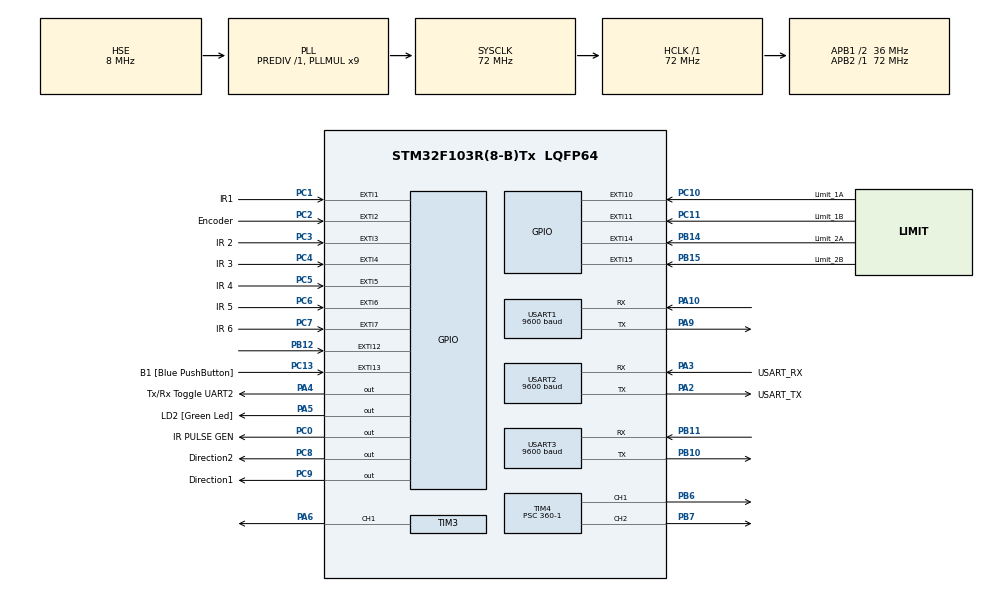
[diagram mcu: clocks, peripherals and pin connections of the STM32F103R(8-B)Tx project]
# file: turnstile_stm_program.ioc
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Dma.Request0=TIM3_CH1/TRIG
Dma.TIM3_CH1/TRIG.0.Direction=DMA_MEMORY_TO_PERIPH
Dma.TIM3_CH1/TRIG.0.Instance=DMA1_Channel6
Dma.TIM3_CH1/TRIG.0.MemDataAlignment=DMA_MDATAALIGN_BYTE
Dma.TIM3_CH1/TRIG.0.MemInc=DMA_MINC_ENABLE
Dma.TIM3_CH1/TRIG.0.Mode=DMA_NORMAL
Dma.TIM3_CH1/TRIG.0.PeriphDataAlignment=DMA_PDATAALIGN_HALFWORD
Dma.TIM3_CH1/TRIG.0.PeriphInc=DMA_PINC_DISABLE
Dma.TIM3_CH1/TRIG.0.Priority=DMA_PRIORITY_LOW
Mcu.Family=STM32F1
Mcu.Name=STM32F103R(8-B)Tx
Mcu.Package=LQFP64
NVIC.DMA1_Channel6_IRQn=true\:0\:0\:false\:false\:true\:false\:true\:true
NVIC.EXTI15_10_IRQn=true\:0\:0\:false\:false\:true\:true\:true\:true
NVIC.EXTI1_IRQn=true\:0\:0\:false\:false\:true\:true\:true\:true
NVIC.EXTI2_IRQn=true\:0\:0\:false\:false\:true\:true\:true\:true
NVIC.EXTI3_IRQn=true\:0\:0\:false\:false\:true\:true\:true\:true
NVIC.EXTI4_IRQn=true\:0\:0\:false\:false\:true\:true\:true\:true
NVIC.EXTI9_5_IRQn=true\:0\:0\:false\:false\:true\:true\:true\:true
NVIC.PriorityGroup=NVIC_PRIORITYGROUP_4
NVIC.USART1_IRQn=true\:0\:0\:true\:false\:true\:true\:true\:true
NVIC.USART2_IRQn=true\:0\:0\:true\:false\:true\:true\:true\:true
NVIC.USART3_IRQn=true\:0\:0\:false\:false\:true\:true\:true\:true
NimaLTD.I-CUBE-WS28XX.3.0.1.DriverJjWS28XX=true
NimaLTD.I-CUBE-WS28XX.3.0.1.WS28XX_PIXEL_MAX=578
PA10.Mode=Asynchronous
PA10.Signal=USART1_RX
PA13.GPIO_Label=TMS
PA13.Mode=Serial_Wire
PA13.Signal=SYS_JTMS-SWDIO
PA14.GPIO_Label=TCK
PA14.Mode=Serial_Wire
PA14.Signal=SYS_JTCK-SWCLK
PA2.GPIO_Label=USART_TX
PA2.GPIO_Mode=GPIO_MODE_AF_PP
PA2.GPIO_PuPd=GPIO_NOPULL
PA2.GPIO_Speed=GPIO_SPEED_FREQ_LOW
PA2.Mode=Asynchronous
PA2.Signal=USART2_TX
PA3.GPIO_Label=USART_RX
PA3.GPIO_Mode=GPIO_MODE_AF_PP
PA3.GPIO_PuPd=GPIO_NOPULL
PA3.GPIO_Speed=GPIO_SPEED_FREQ_LOW
PA3.Mode=Asynchronous
PA3.Signal=USART2_RX
PA4.GPIO_Label=Tx/Rx Toggle UART2
PA4.Signal=GPIO_Output
PA5.GPIO_Label=LD2 [Green Led]
PA5.GPIO_ModeDefaultOutputPP=GPIO_MODE_OUTPUT_PP
PA5.GPIO_PuPd=GPIO_NOPULL
PA5.GPIO_Speed=GPIO_SPEED_FREQ_LOW
PA5.Signal=GPIO_Output
PA6.Signal=S_TIM3_CH1
PA9.Mode=Asynchronous
PA9.Signal=USART1_TX
PB10.Mode=Asynchronous
PB10.Signal=USART3_TX
PB11.Mode=Asynchronous
PB11.Signal=USART3_RX
PB12.Signal=GPXTI12
PB14.GPIO_Label=Limit_2A
PB14.GPIO_PuPd=GPIO_PULLUP
PB14.Signal=GPXTI14
PB15.GPIO_Label=Limit_2B
PB15.GPIO_PuPd=GPIO_PULLUP
PB15.Signal=GPXTI15
PB3.GPIO_Label=SWO
PB3.Signal=SYS_JTDO-TRACESWO
PB6.Signal=S_TIM4_CH1
PB7.Signal=S_TIM4_CH2
PC0.GPIO_Label=IR PULSE GEN
PC0.Signal=GPIO_Output
PC1.GPIO_Label=IR1
PC1.Signal=GPXTI1
PC10.GPIO_Label=Limit_1A
PC10.GPIO_PuPd=GPIO_PULLUP
PC10.Signal=GPXTI10
PC11.GPIO_Label=Limit_1B
PC11.GPIO_PuPd=GPIO_PULLUP
PC11.Signal=GPXTI11
PC13-TAMPER-RTC.GPIO_Label=B1 [Blue PushButton]
PC13-TAMPER-RTC.GPIO_PuPd=GPIO_NOPULL
PC13-TAMPER-RTC.Signal=GPXTI13
PC14-OSC32_IN.Mode=LSE-External-Oscillator
PC14-OSC32_IN.Signal=RCC_OSC32_IN
PC15-OSC32_OUT.Mode=LSE-External-Oscillator
PC15-OSC32_OUT.Signal=RCC_OSC32_OUT
PC2.GPIO_Label=Encoder
PC2.Signal=GPXTI2
PC3.GPIO_Label=IR 2
PC3.Signal=GPXTI3
PC4.GPIO_Label=IR 3
PC4.Signal=GPXTI4
PC5.GPIO_Label=IR 4
PC5.Signal=GPXTI5
PC6.GPIO_Label=IR 5
PC6.Signal=GPXTI6
PC7.GPIO_Label=IR 6
PC7.Signal=GPXTI7
PC8.GPIO_Label=Direction2
PC8.Signal=GPIO_Output
PC9.GPIO_Label=Direction1
PC9.Signal=GPIO_Output
PD0-OSC_IN.Mode=HSE-External-Clock-Source
PD0-OSC_IN.Signal=RCC_OSC_IN
PD1-OSC_OUT.Mode=HSE-External-Clock-Source
PD1-OSC_OUT.Signal=RCC_OSC_OUT
ProjectManager.HeapSize=0x200
ProjectManager.StackSize=0x400
ProjectManager.TargetToolchain=STM32CubeIDE
RCC.AHBFreq_Value=72000000
RCC.APB1CLKDivider=RCC_HCLK_DIV2
RCC.APB1Freq_Value=36000000
RCC.APB1TimFreq_Value=72000000
RCC.APB2Freq_Value=72000000
RCC.APB2TimFreq_Value=72000000
RCC.HCLKFreq_Value=72000000
RCC.PLLMUL=RCC_PLL_MUL9
RCC.PLLSourceVirtual=RCC_PLLSOURCE_HSE
RCC.RTCClockSelection=RCC_RTCCLKSOURCE_LSE
RCC.SYSCLKFreq_VALUE=72000000
RCC.SYSCLKSource=RCC_SYSCLKSOURCE_PLLCLK
RCC.USBFreq_Value=72000000
SH.S_TIM3_CH1.0=TIM3_CH1,PWM Generation1 CH1
SH.S_TIM4_CH1.0=TIM4_CH1,PWM Generation1 CH1
SH.S_TIM4_CH2.0=TIM4_CH2,PWM Generation2 CH2
TIM3.Channel-PWM\ Generation1\ CH1=TIM_CHANNEL_1
TIM3.Period=100
TIM3.Prescaler=71
TIM4.Channel-PWM\ Generation1\ CH1=TIM_CHANNEL_1
TIM4.Channel-PWM\ Generation2\ CH2=TIM_CHANNEL_2
TIM4.Period=200-1
TIM4.Prescaler=360-1
USART1.BaudRate=9600
USART1.VirtualMode=VM_ASYNC
USART2.BaudRate=9600
USART2.VirtualMode=VM_ASYNC
USART3.BaudRate=9600
USART3.VirtualMode=VM_ASYNC
VP_NimaLTD.I-CUBE-WS28XX_VS_DriverJjWS28XX_1.0.0_3.0.1.Mode=DriverJjWS28XX
VP_TIM3_VS_ClockSourceINT.Mode=Internal
VP_TIM4_VS_ClockSourceINT.Mode=Internal
board=NUCLEO-F103RB

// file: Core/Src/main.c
/* USER CODE BEGIN Header */
/**
  ******************************************************************************
  * @file           : main.c
  * @brief          : Main program body
  ******************************************************************************
  * @attention
  *
  * Copyright (c) 2024 STMicroelectronics.
  * All rights reserved.
  *
  * This software is licensed under terms that can be found in the LICENSE file
  * in the root directory of this software component.
  * If no LICENSE file comes with this software, it is provided AS-IS.
  *
  ******************************************************************************
  */
/* USER CODE END Header */
#include "main.h"
#include "dma.h"
#include "tim.h"
#include "usart.h"
#include "gpio.h"

/* USER CODE BEGIN Includes */
#include "ws28xx.h"
#include <string.h>
#include <stdio.h>
/* USER CODE END Includes */

/* USER CODE BEGIN PTD */
typedef enum {
    STATE_READY,
    STATE_READING,
    STATE_OPEN,
    STATE_CLOSED,
    STATE_OVERCAPACITY,
    STATE_SLEEP,
    STATE_EMERGENCY
} SystemState;
/* USER CODE END PTD */

/* USER CODE BEGIN PD */
#define LED_TOTAL 578  // Total number of LEDs after adjustments
#define DELAY_TIME 100  // Delay for animation steps
#define OBJECT_DETECTION_TIMEOUT 500  // Timeout period for object detection (in ms)
#define PULSE_INTERVAL 100            // Interval for pulse transmission (in ms)
#define ENCODER_THRESHOLD 570
#define TURNSTILE_ID 1  // Set manually to 1 for one Nucleo, and 2 for the other
#define NUM_SENSORS 6
#define RS485_DE_RE_PIN GPIO_PIN_4
#define RS485_DE_RE_PORT GPIOA
/* USER CODE END PD */

/* USER CODE BEGIN PV */
WS28XX_HandleTypeDef ws;
int cross_state = 1;      // State variable for blinking cross animation
int brightness = 40;     // Global brightness level (40-255)
SystemState currentState = STATE_READY; // Initialize to Ready State
uint8_t rxData[14];        // Single buffer for USART1 and USART2
uint8_t processedData[15]; // Buffer to store processed data
char usermsg[15];          // Message to send
volatile uint8_t flag_rev = 0;      // Flag to indicate data reception
volatile uint8_t rfid_flag = 1; //to manage data flow
volatile uint8_t uart_source = 0;   // Variable to identify UART source (1 for USART1, 2 for USART2)
volatile uint8_t RFID_counter = 0;
uint8_t responseData[2];      // For NOS response
uint8_t intresponseData;
/* Other variables */
volatile int counter1 = 0;
volatile int counter2 = 0;
volatile int rev = 0;
volatile int data_received = 0;
/*
uint32_t last_pulse_received_time1 = 0;  // Time for last pulse reception
uint32_t last_pulse_received_time2 = 0;  // Time for last pulse reception
uint32_t last_pulse_received_time3 = 0;  // Time for last pulse reception
uint32_t last_pulse_received_time4 = 0;  // Time for last pulse reception
uint32_t last_pulse_received_time5 = 0;  // Time for last pulse reception
uint32_t last_pulse_received_time6 = 0;  // Time for last pulse reception
*/
volatile int ir_flag = 0;

uint8_t receivedTurnstileID = 0;

uint32_t last_pulse_received_time[NUM_SENSORS] = {0};

/* USER CODE END PV */

void SystemClock_Config(void);

/* USER CODE BEGIN 0 */

//LED MATRIX FUNCTIONS
/* Arrow shape indices for entry and exit matrices */
int arrow_entry_matrix[] = {
    83, 84, 91, 92, 99, 100, 107, 108, 115, 116, 123, 124,
    131, 132, 137, 138, 139, 140, 141, 142, 146, 147, 148, 149,
    155, 156
};

int arrow_exit_matrix[] = {
    322, 323, 330, 331, 338, 339, 346, 347, 354, 355, 362, 363,
    370, 371, 376, 377, 378, 379, 380, 381, 385, 386, 387, 388,
    394, 395
};

/* Cross shape indices for entry and exit matrices */
int topCross_entry_matrix[] = {224, 231, 222, 217, 213, 210, 203, 204, 196, 195, 189, 186, 182, 177, 175, 168};
int middleCross_entry_matrix[] = {103, 96, 105, 110, 114, 117, 123, 124, 132, 131, 138, 141, 145, 150, 152, 159};
int bottomCross_entry_matrix[] = {31, 24, 33, 38, 42, 45, 51, 52, 59, 60, 66, 69, 73, 78, 80, 87};

int topCross_exit_matrix[] = {474, 481, 472, 467, 463, 460, 453, 454, 446, 445, 439, 436, 432, 427, 425, 418};
int middleCross_exit_matrix[] = {343, 336, 345, 350, 354, 357, 363, 364, 372, 371, 378, 381, 385, 390, 392, 399};
int bottomCross_exit_matrix[] = {271, 264, 273, 278, 282, 285, 291, 292, 299, 300, 306, 309, 313, 318, 320, 327};

/* Strips and RFID indices */
int entryStrip[] = {256, 257, 258, 259, 260, 261, 262, 263, 264, 265, 266, 267, 268, 269, 270, 271, 272, 273, 274};
int exitStrip[] = {315, 316, 317, 318, 319, 320, 321, 322, 323, 324, 325, 326, 327, 328, 329, 330, 331, 332, 333};

int entryRFID[] = {275, 276, 277, 278, 279, 280, 281, 282, 283, 284, 285, 286, 287, 288, 289, 290, 291, 292, 293, 294};
int exitRFID[] = {295, 296, 297, 298, 299, 300, 301, 302, 303, 304, 305, 306, 307, 308, 309, 310, 311, 312, 313, 314};

int swingBarrierStrip[] = {};//Left empty till confirmation

const int entryStripSize = sizeof(entryStrip) / sizeof(entryStrip[0]);
const int exitStripSize = sizeof(exitStrip) / sizeof(exitStrip[0]);
const int entryRFIDSize = sizeof(entryRFID) / sizeof(entryRFID[0]);
const int exitRFIDSize = sizeof(exitRFID) / sizeof(exitRFID[0]);
/* Function to draw the arrow on a specified strip */
void Draw_Arrow(WS28XX_HandleTypeDef *ws, int *arrow, int color) {
    for (int i = 0; i < 26; i++) {
        WS28XX_SetPixel_RGBW_565(ws, arrow[i], color, brightness);
    }
    WS28XX_Update(ws);
}

void Clear_Arrow(WS28XX_HandleTypeDef *ws, int *arrow) {
    for (int i = 0; i < 26; i++) {
        WS28XX_SetPixel_RGBW_565(ws, arrow[i], COLOR_RGB565_BLACK, 0);
    }
    WS28XX_Update(ws);
}

/* Function to shift the arrow forward by one row, limited to the first strip */
void Shift_Arrow_EntryMatrix(int *arrow) {
    for (int i = 0; i < 26; i++) {
        arrow[i] += 8;
        if (arrow[i] >= 256) {  // Wrap around if out of bounds in the entry matrix (0–255)
            arrow[i] = arrow[i] % 256;
        }
    }
}

/* Function to shift the arrow forward by one row, limited to the second strip */
void Shift_Arrow_ExitMatrix(int *arrow) {
    for (int i = 0; i < 26; i++) {
        arrow[i] += 8;  // Move forward by 8 (to the next row)
        if (arrow[i] >= 578) {  // Wrap around if the index exceeds the maximum address (577)
            arrow[i] = 322 + ((arrow[i] - 322) % 256);  // Rebase to 0, wrap, and re-add the base offset
        }
    }
}

void Led_Strip(WS28XX_HandleTypeDef *ws, int *strip, int strip_size, char *color) {
    uint16_t selected_color; // Variable to hold the selected color value

    // Determine the color based on the input string
    if (strcmp(color, "red") == 0) {
        selected_color = COLOR_RGB565_RED;
    } else if (strcmp(color, "blue") == 0) {
        selected_color = COLOR_RGB565_BLUE;
    } else if (strcmp(color, "green") == 0) {
        selected_color = COLOR_RGB565_GREEN;
    } else if (strcmp(color, "off") == 0) {
        selected_color = COLOR_RGB565_BLACK;
    } else {
        return; // Invalid color; do nothing
    }

    // Set the color for each LED in the strip
    for (int i = 0; i < strip_size; i++) {
        WS28XX_SetPixel_RGBW_565(ws, strip[i], selected_color, (strcmp(color, "off") == 0) ? 0 : brightness);
    }

    // Update the LED strip
    WS28XX_Update(ws);
}

/* Function to animate the cross pattern */
void Draw_Cross(WS28XX_HandleTypeDef *ws, int *top, int *middle, int *bottom, int color) {
    for (int i = 0; i < 16; i++) {
        WS28XX_SetPixel_RGBW_565(ws, top[i], color, brightness);
        WS28XX_SetPixel_RGBW_565(ws, middle[i], color, brightness);
        WS28XX_SetPixel_RGBW_565(ws, bottom[i], color, brightness);
    }
    WS28XX_Update(ws);
}

void Clear_Cross(WS28XX_HandleTypeDef *ws, int *top, int *middle, int *bottom) {
    for (int i = 0; i < 16; i++) {
        WS28XX_SetPixel_RGBW_565(ws, top[i], COLOR_RGB565_BLACK, 0);
        WS28XX_SetPixel_RGBW_565(ws, middle[i], COLOR_RGB565_BLACK, 0);
        WS28XX_SetPixel_RGBW_565(ws, bottom[i], COLOR_RGB565_BLACK, 0);
    }
    WS28XX_Update(ws);
}

/* Function to clear all animations on both strips */
void Clear_All_Animations(WS28XX_HandleTypeDef *ws) {
    Clear_Arrow(ws, arrow_entry_matrix);
    Clear_Arrow(ws, arrow_exit_matrix);
    Clear_Cross(ws, topCross_entry_matrix, middleCross_entry_matrix, bottomCross_entry_matrix);
    Clear_Cross(ws, topCross_exit_matrix, middleCross_exit_matrix, bottomCross_exit_matrix);
    Led_Strip(&ws, entryStrip, entryStripSize, "off");
    Led_Strip(&ws, entryRFID, entryRFIDSize, "off");
    Led_Strip(&ws, exitStrip, exitStripSize, "off");
    Led_Strip(&ws, exitRFID, exitRFIDSize, "off");
}

void Entry_Granted_Animation(WS28XX_HandleTypeDef *ws) {
    static uint32_t last_update_time = 0;

    if (HAL_GetTick() - last_update_time >= DELAY_TIME) {
        last_update_time = HAL_GetTick();

        Clear_Arrow(ws, arrow_entry_matrix);
        Shift_Arrow_EntryMatrix(arrow_entry_matrix);
        Draw_Arrow(ws, arrow_entry_matrix, COLOR_RGB565_GREEN);

        Led_Strip(&ws, entryStrip, entryStripSize, "green");
        Led_Strip(&ws, entryRFID, entryRFIDSize, "green");
        Led_Strip(&ws, exitStrip, exitStripSize, "red");
        Led_Strip(&ws, exitRFID, exitRFIDSize, "red");

        if (cross_state) {
            Draw_Cross(ws, topCross_exit_matrix, middleCross_exit_matrix, bottomCross_exit_matrix, COLOR_RGB565_RED);
        } else {
            Clear_Cross(ws, topCross_exit_matrix, middleCross_exit_matrix, bottomCross_exit_matrix);
        }
        cross_state = !cross_state;
    }
}

void Exit_Granted_Animation(WS28XX_HandleTypeDef *ws) {
    static uint32_t last_update_time = 0;

    if (HAL_GetTick() - last_update_time >= DELAY_TIME) {
        last_update_time = HAL_GetTick();

        if (cross_state) {
            Draw_Cross(ws, topCross_entry_matrix, middleCross_entry_matrix, bottomCross_entry_matrix, COLOR_RGB565_RED);
        } else {
            Clear_Cross(ws, topCross_entry_matrix, middleCross_entry_matrix, bottomCross_entry_matrix);
        }
        cross_state = !cross_state;

        Led_Strip(&ws, entryStrip, entryStripSize, "red");
        Led_Strip(&ws, entryRFID, entryRFIDSize, "red");
        Led_Strip(&ws, exitStrip, exitStripSize, "green");
        Led_Strip(&ws, exitRFID, exitRFIDSize, "green");

        Clear_Arrow(ws, arrow_exit_matrix);
        Shift_Arrow_ExitMatrix(arrow_exit_matrix);
        Draw_Arrow(ws, arrow_exit_matrix, COLOR_RGB565_GREEN);
    }
}

/* Function 3: Arrow animation on both strips */
void Ready_State_Animation(WS28XX_HandleTypeDef *ws) {
    static uint32_t last_update_time = 0;

    if (HAL_GetTick() - last_update_time >= DELAY_TIME) {
        last_update_time = HAL_GetTick();

        Led_Strip(&ws, entryStrip, entryStripSize, "blue");
        Led_Strip(&ws, entryRFID, entryRFIDSize, "blue");
        Led_Strip(&ws, exitStrip, exitStripSize, "blue");
        Led_Strip(&ws, exitRFID, exitRFIDSize, "blue");

        Clear_Arrow(ws, arrow_entry_matrix);
        Shift_Arrow_EntryMatrix(arrow_entry_matrix);
        Draw_Arrow(ws, arrow_entry_matrix, COLOR_RGB565_GREEN);

        Clear_Arrow(ws, arrow_exit_matrix);
        Shift_Arrow_ExitMatrix(arrow_exit_matrix);
        Draw_Arrow(ws, arrow_exit_matrix, COLOR_RGB565_GREEN);
    }
}

/* Function 4: Cross animation on both strips */
void Access_Denied_Animation(WS28XX_HandleTypeDef *ws) {
    static uint32_t last_update_time = 0;

    if (HAL_GetTick() - last_update_time >= DELAY_TIME) {
        last_update_time = HAL_GetTick();

        if (cross_state) {
            Draw_Cross(ws, topCross_entry_matrix, middleCross_entry_matrix, bottomCross_entry_matrix, COLOR_RGB565_RED);
            Draw_Cross(ws, topCross_exit_matrix, middleCross_exit_matrix, bottomCross_exit_matrix, COLOR_RGB565_RED);
        } else {
            Clear_Cross(ws, topCross_entry_matrix, middleCross_entry_matrix, bottomCross_entry_matrix);
            Clear_Cross(ws, topCross_exit_matrix, middleCross_exit_matrix, bottomCross_exit_matrix);
        }
        cross_state = !cross_state;

        Led_Strip(&ws, entryStrip, entryStripSize, "red");
        Led_Strip(&ws, entryRFID, entryRFIDSize, "red");
        Led_Strip(&ws, exitStrip, exitStripSize, "red");
        Led_Strip(&ws, exitRFID, exitRFIDSize, "red");
    }
}

// IR FUNCTIONS
int CheckObjectDetection(void) {
    static uint32_t last_pulse_time = 0;

    // Generate a pulse every 100 ms
    if (HAL_GetTick() - last_pulse_time >= PULSE_INTERVAL) {
        last_pulse_time = HAL_GetTick();
        HAL_GPIO_TogglePin(GPIOC, GPIO_PIN_0); // Generate pulse
    }

    // Check for timeout on all sensors
    ir_flag = 0; // Assume no object is present initially
    for (int i = 0; i < NUM_SENSORS; i++) {
        if (HAL_GetTick() - last_pulse_received_time[i] >= OBJECT_DETECTION_TIMEOUT) {
            ir_flag = 1;  // Object detected, set the flag
            break;        // No need to check further if one sensor times out
        }
    }

    return ir_flag; // Return the state of the IR flag
}

//MOTOR CONTROL FUNCTIONS
void Speed_Control1(int a)
{
	__HAL_TIM_SetCompare(&htim4, TIM_CHANNEL_1, a);
	//__HAL_TIM_SetCompare(&htim4, TIM_CHANNEL_2, a - 30);
}
void Speed_Control2(int a)
{
	//__HAL_TIM_SetCompare(&htim4, TIM_CHANNEL_1, a);
	__HAL_TIM_SetCompare(&htim4, TIM_CHANNEL_2, a);
}

void Direction(int a)
{
	if(a==1)
	{
		HAL_GPIO_WritePin(GPIOC, GPIO_PIN_8, GPIO_PIN_SET);
		HAL_GPIO_WritePin(GPIOC, GPIO_PIN_9, GPIO_PIN_RESET);
	}
	if(a==0)
	{
		HAL_GPIO_WritePin(GPIOC, GPIO_PIN_8, GPIO_PIN_RESET);
		HAL_GPIO_WritePin(GPIOC, GPIO_PIN_9, GPIO_PIN_SET);
	}
}

const uint16_t pulse_pins[NUM_SENSORS] = {GPIO_PIN_1, GPIO_PIN_3, GPIO_PIN_4, GPIO_PIN_5, GPIO_PIN_6, GPIO_PIN_7};

void HAL_GPIO_EXTI_Callback(uint16_t GPIO_Pin) {
    /*for (int i = 0; i < NUM_SENSORS; i++) {
        if (GPIO_Pin == pulse_pins[i]) {
            last_pulse_received_time[i] = HAL_GetTick();
            return; // Exit after updating the correct sensor
        }
    }*/
	if(GPIO_Pin == GPIO_PIN_12)
	{
			counter1++;
			if(counter1 == 598)
			{
				Speed_Control1(0);
				counter1 = 0;
			}
	}
	if(GPIO_Pin == GPIO_PIN_2)
	{
			counter2++;
			if(counter2 == 520)
			{
				Speed_Control2(0);
				counter2 = 0;
			}
	}
	if(GPIO_Pin == GPIO_PIN_13)
	{
			counter1 = 0;
			counter2 = 0;
			Speed_Control1(0);
			Speed_Control2(0);
	}
}

void quarter_cycle_open(int source) {
    uint32_t start_time = HAL_GetTick();  // Record the start time
    counter1 = 0;  // Reset the counter at the start of the operation
    counter2 = 0;

    // Set motor direction based on the source
    if (source == 1) {
        Direction(0);  // Direction for source 1
    } else if (source == 2) {
        Direction(1);  // Direction for source 2
    }

	Speed_Control1(100);
	Speed_Control2(80);

}

void quarter_cycle_closed(int source) {
    uint32_t start_time = HAL_GetTick();  // Record the start time
    counter1 = 0;  // Reset the counter at the start of the operation
    counter2 = 0;
    // Set motor direction based on the source
    if (source == 1) {
        Direction(1);  // Direction for source 1
    } else if (source == 2) {
        Direction(0);  // Direction for source 2
    }

	Speed_Control1(100);
	Speed_Control2(80);

}

// Function to enable RS485 Transmit Mode
void RS485_EnableTransmit(void) {
    HAL_GPIO_WritePin(RS485_DE_RE_PORT, RS485_DE_RE_PIN, GPIO_PIN_SET);
    HAL_GPIO_WritePin(GPIOA, GPIO_PIN_5, GPIO_PIN_SET);

}

// Function to enable RS485 Receive Mode
void RS485_EnableReceive(void) {
    HAL_GPIO_WritePin(RS485_DE_RE_PORT, RS485_DE_RE_PIN, GPIO_PIN_RESET);
    HAL_GPIO_WritePin(GPIOA, GPIO_PIN_5, GPIO_PIN_RESET);

}

//STATE FUNCTIONS

void ready_state(void) {
/*    static uint32_t last_update_time = 0;

    if (HAL_GetTick() - last_update_time >= DELAY_TIME) {
        last_update_time = HAL_GetTick();
        Ready_State_Animation(&ws);

        if (flag_rev == 1) {
            currentState = STATE_READING;
        }
    }*/
    //Ready_State_Animation(&ws);

    if (flag_rev == 1) {
        currentState = STATE_READING;
        RFID_counter++;
    }
}

void reading_state(void) {

    if (flag_rev == 1) {
    	//sprintf(usermsg, "%s", processedData);
    	RS485_EnableTransmit();  // Enable TX Mode
    	HAL_Delay(100);
    	HAL_UART_Transmit(&huart2, (uint8_t *)usermsg, sizeof(usermsg), HAL_MAX_DELAY);
    	//HAL_Delay(1000);
        RS485_EnableReceive();  // Enable RX Mode
        //HAL_Delay(1000);
        flag_rev = 0;
    }

    // NOS Potential Responses Setup
    switch (intresponseData) {
        case 0: currentState = STATE_READY; break;
        case 1: currentState = STATE_OPEN; break;
        case 2: currentState = STATE_CLOSED; break;
        case 3: currentState = STATE_EMERGENCY; break;
        case 4: currentState = STATE_SLEEP; break;
        case 5: currentState = STATE_OVERCAPACITY; break;
    }
}

void open_state(void) {
    static uint32_t start_time = 0;
    static int step = 0;

    if (step == 0) {
        Clear_All_Animations(&ws);
        quarter_cycle_open(uart_source);
        start_time = HAL_GetTick();
        step = 1;
    }

    if (step == 1 && HAL_GetTick() - start_time >= 2000) {
        // Step 1: Wait for 2 seconds after opening
        step = 2;
    }

    if (step == 2) {
        // Step 2: Wait until no object is detected
        /*while (CheckObjectDetection()) {
            // Show animations while waiting for the area to clear
            if (uart_source == 1) {
                Entry_Granted_Animation(&ws);
            } else if (uart_source == 2) {
                Exit_Granted_Animation(&ws);
            }
        }*/
        if (uart_source == 1) {
            Entry_Granted_Animation(&ws);
        } else if (uart_source == 2) {
            Exit_Granted_Animation(&ws);
        }
        HAL_Delay(4000);

        // No object detected, proceed to close the doors
        step = 3;
    }

    if (step == 3) {
        quarter_cycle_closed(uart_source);
        currentState = STATE_READY;
        step = 0; // Reset step for the next cycle
    }
}

void closed_state(void) {
    static uint32_t start_time = 0;

    if (start_time == 0) {
        start_time = HAL_GetTick();
        Clear_All_Animations(&ws);
    }

    if (HAL_GetTick() - start_time < 2000) {
        Access_Denied_Animation(&ws);
    } else {
        currentState = STATE_READY;
        start_time = 0; // Reset for the next execution
    }
}

void sleep_state(void) {
    Clear_All_Animations(&ws);
    Led_Strip(&ws, entryStrip, entryStripSize, "off");
    Led_Strip(&ws, exitStrip, exitStripSize, "off");
    HAL_PWR_EnterSLEEPMode(PWR_MAINREGULATOR_ON, PWR_SLEEPENTRY_WFI);
}

void overcapacity_state(void) {
    static uint32_t start_time = 0;

    if (start_time == 0) {
        start_time = HAL_GetTick();
    }

    if (HAL_GetTick() - start_time < 2000) {
        Led_Strip(&ws, entryStrip, entryStripSize, "red");
        Led_Strip(&ws, exitStrip, exitStripSize, "red");
    } else {
        currentState = STATE_READY;
        start_time = 0; // Reset timer
    }
}

void emergency_state(void) {
    static uint32_t last_blink_time = 0;
    static int blink_count = 0;

    if (blink_count < 10) {
        if (HAL_GetTick() - last_blink_time >= 500) {
            last_blink_time = HAL_GetTick();
            if (blink_count % 2 == 0) {
                Led_Strip(&ws, entryStrip, entryStripSize, "red");
                Led_Strip(&ws, exitStrip, exitStripSize, "red");
            } else {
                Led_Strip(&ws, entryStrip, entryStripSize, "off");
                Led_Strip(&ws, exitStrip, exitStripSize, "off");
            }
            blink_count++;
        }
    } else {
        quarter_cycle_open(1);
        quarter_cycle_open(1);
        currentState = STATE_SLEEP;
        blink_count = 0;
    }
}
/* USER CODE END 0 */

int main(void)
{

  /* MCU Configuration--------------------------------------------------------*/

  /* Reset of all peripherals, Initializes the Flash interface and the Systick. */
  HAL_Init();

  /* Configure the system clock */
  SystemClock_Config();

  /* Initialize all configured peripherals */
  MX_GPIO_Init();
  MX_DMA_Init();
  MX_USART2_UART_Init();
  MX_TIM3_Init();
  MX_TIM4_Init();
  MX_USART1_UART_Init();
  MX_USART3_UART_Init();
  /* USER CODE BEGIN 2 */
  HAL_TIM_Base_Start(&htim4);
  HAL_TIM_PWM_Start(&htim4,TIM_CHANNEL_1);
  HAL_TIM_PWM_Start(&htim4,TIM_CHANNEL_2);
  WS28XX_Init(&ws, &htim3, 72, TIM_CHANNEL_1, LED_TOTAL);

  //HAL_GPIO_WritePin(GPIOA, GPIO_PIN_4, GPIO_PIN_RESET);
  // Start UART reception for RFID Reader (USART1)
  HAL_UART_Receive_IT(&huart1, rxData, sizeof(rxData));

  // Start UART reception for Additional UART (USART2)
  HAL_UART_Receive_IT(&huart3, rxData, sizeof(rxData));

  // Start UART reception for NOS response (USART3)
  HAL_UART_Receive_IT(&huart2, &responseData, sizeof(responseData));
  //HAL_GPIO_WritePin(GPIOA, GPIO_PIN_4, GPIO_PIN_SET);
/*  while(1){

  }*/
  //quarter_cycle_open(1);
  /* USER CODE END 2 */

  /* Infinite loop */
  /* USER CODE BEGIN WHILE */
  while (1)
  {
		switch (currentState)
		{
			case STATE_READY:
				ready_state();
				break;
			case STATE_READING:
				reading_state();
				break;
			case STATE_OPEN:
				open_state();
				break;
			case STATE_CLOSED:
				closed_state();
				break;
			// Leave other states empty for now
			case STATE_OVERCAPACITY:
				overcapacity_state();
				break;
			case STATE_SLEEP:
				sleep_state();
				break;
			case STATE_EMERGENCY:
				emergency_state();
				break;
			default:
				break;
		}
    /* USER CODE END WHILE */

  }
}

void SystemClock_Config(void)
{
  RCC_OscInitTypeDef RCC_OscInitStruct = {0};
  RCC_ClkInitTypeDef RCC_ClkInitStruct = {0};

  /** Initializes the RCC Oscillators according to the specified parameters
  * in the RCC_OscInitTypeDef structure.
  */
  RCC_OscInitStruct.OscillatorType = RCC_OSCILLATORTYPE_HSE;
  RCC_OscInitStruct.HSEState = RCC_HSE_BYPASS;
  RCC_OscInitStruct.HSEPredivValue = RCC_HSE_PREDIV_DIV1;
  RCC_OscInitStruct.HSIState = RCC_HSI_ON;
  RCC_OscInitStruct.PLL.PLLState = RCC_PLL_ON;
  RCC_OscInitStruct.PLL.PLLSource = RCC_PLLSOURCE_HSE;
  RCC_OscInitStruct.PLL.PLLMUL = RCC_PLL_MUL9;
  if (HAL_RCC_OscConfig(&RCC_OscInitStruct) != HAL_OK)
  {
    Error_Handler();
  }

  /** Initializes the CPU, AHB and APB buses clocks
  */
  RCC_ClkInitStruct.ClockType = RCC_CLOCKTYPE_HCLK|RCC_CLOCKTYPE_SYSCLK
                              |RCC_CLOCKTYPE_PCLK1|RCC_CLOCKTYPE_PCLK2;
  RCC_ClkInitStruct.SYSCLKSource = RCC_SYSCLKSOURCE_PLLCLK;
  RCC_ClkInitStruct.AHBCLKDivider = RCC_SYSCLK_DIV1;
  RCC_ClkInitStruct.APB1CLKDivider = RCC_HCLK_DIV2;
  RCC_ClkInitStruct.APB2CLKDivider = RCC_HCLK_DIV1;

  if (HAL_RCC_ClockConfig(&RCC_ClkInitStruct, FLASH_LATENCY_2) != HAL_OK)
  {
    Error_Handler();
  }
}

/* USER CODE BEGIN 4 */

void HAL_UART_RxCpltCallback(UART_HandleTypeDef *huart) {
    if (huart->Instance == USART1 && rfid_flag == 1) { // Data received from USART1
        // Process the received data
        for (int i = 0; i < 12; i++) {
            processedData[i] = rxData[i + 1]; // Skip the start byte
        }

        uart_source = 1;
        processedData[12] = uart_source + '0';
        processedData[13] = TURNSTILE_ID + '0';
        processedData[14] = '\0';

        // Use sprintf to format usermsg with identification flag
        sprintf(usermsg, "%s", processedData);

        flag_rev = 1; // Set flag to indicate data has been received
        rfid_flag = 0;

        // Re-enable UART reception for USART1

        HAL_UART_Receive_IT(&huart1, rxData, sizeof(rxData));
    }
    else if (huart->Instance == USART2) { // Data received from USART2

    	data_received++;
    	char receivedCommandChar = responseData[0];  // First character is the command
        char receivedTurnstileIDChar = responseData[1];  // Second character is the Turnstile ID

        int receivedCommand = receivedCommandChar - '0';  // Convert Command to integer
        int receivedTurnstileID = receivedTurnstileIDChar - '0';  // Convert ID to integer

        if (receivedTurnstileID == TURNSTILE_ID) {  // Process only if ID matches
            intresponseData = receivedCommand;  // Store the command
            // Add your logic here to handle the command
        }

        rfid_flag = 1;

        // Re-enable UART reception for USART2
        //HAL_GPIO_WritePin(GPIOA, GPIO_PIN_4, GPIO_PIN_RESET);
        HAL_UART_Receive_IT(&huart2, responseData, sizeof(responseData));
    }
    else if (huart->Instance == USART3 && rfid_flag == 1) {  // USART3 Interrupt
        // Process the received data
        for (int i = 0; i < 12; i++) {
            processedData[i] = rxData[i + 1]; // Skip the start byte
        }
        uart_source = 2;
		processedData[12] = uart_source + '0';
        processedData[13] = TURNSTILE_ID + '0';
        processedData[14] = '\0';

        // Use sprintf to format usermsg with identification flag
        sprintf(usermsg, "%s", processedData);

        flag_rev = 1; // Set flag to indicate data has been received
        rfid_flag = 0;

        // Re-enable UART reception

        HAL_UART_Receive_IT(&huart3,  rxData, sizeof(rxData));
    }
}

/* USER CODE END 4 */

void Error_Handler(void)
{
  /* USER CODE BEGIN Error_Handler_Debug */
  /* User can add his own implementation to report the HAL error return state */
    __disable_irq();
    uint32_t error_start_time = HAL_GetTick();

    while (1) {
        HAL_GPIO_TogglePin(GPIOA, GPIO_PIN_5);  // Indicate error
        HAL_Delay(500);

        char error_msg[128];
        snprintf(error_msg, sizeof(error_msg), "Error in state: %d, time: %lu\n", currentState, HAL_GetTick());
        HAL_UART_Transmit(&huart3, (uint8_t *)error_msg, strlen(error_msg), HAL_MAX_DELAY);

        if (HAL_GetTick() - error_start_time > 10000) {  // Reset system after prolonged error
            HAL_NVIC_SystemReset();
        }
    }
  /* USER CODE END Error_Handler_Debug */
}
